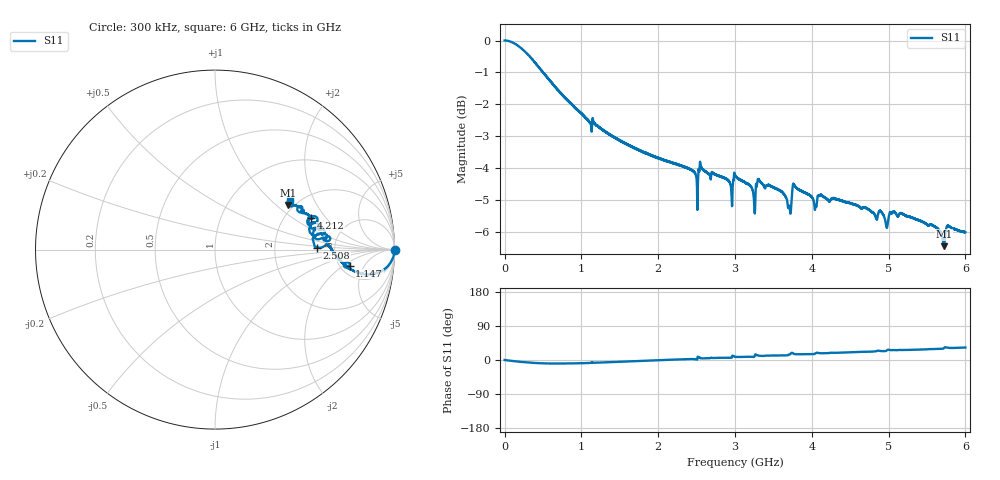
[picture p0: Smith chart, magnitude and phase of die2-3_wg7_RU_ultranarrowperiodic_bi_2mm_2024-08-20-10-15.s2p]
!Keysight Technologies,P9374A,MY57304198,A.17.20.09
!Date: Tuesday, August 20, 2024 10:15:34
!Correction: S11(C  1-Port  )
!S21(C  1-Port  )
!S12(Off)
!S22(Off)
!S2P File: Measurements: S11, S21, S12, S22:
# Hz S  dB  R 50
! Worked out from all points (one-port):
!   6000 points, 300 kHz to 6 GHz, reference 50 ohm
!   lowest |S11| = -6.4 dB at 5.72 GHz (marker M1), VSWR 2.82, Z = 93.8 + j59.9 ohm
!   |S11| at or under -10 dB: nowhere
!   S11 on the Smith chart (normalised r, x): 300 kHz: open; 1.147 GHz: 6.10, -2.54; 2.508 GHz: 3.64, +0.10; 4.212 GHz: 2.76, +1.41; 6 GHz: 1.83, +1.33
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300000  0.00 -0.0  -200.00 45.0  -200.00 45.0  -200.00 45.0
4.163485e8  -0.75 -8.0  -200.00 45.0  -200.00 45.0  -200.00 45.0
1.000417e9  -2.28 -8.4  -200.00 45.0  -200.00 45.0  -200.00 45.0
1.147434e9  -2.43 -6.8  -200.00 45.0  -200.00 45.0  -200.00 45.0
2.000533e9  -3.67 -0.6  -200.00 45.0  -200.00 45.0  -200.00 45.0
2.479589e9  -4.14 2.4  -200.00 45.0  -200.00 45.0  -200.00 45.0
2.507593e9  -4.89 0.9  -200.00 45.0  -200.00 45.0  -200.00 45.0
2.5686e9  -4.02 4.3  -200.00 45.0  -200.00 45.0  -200.00 45.0
2.929642e9  -4.44 6.2  -200.00 45.0  -200.00 45.0  -200.00 45.0
3.00065e9  -4.21 8.4  -200.00 45.0  -200.00 45.0  -200.00 45.0
3.224676e9  -4.66 8.3  -200.00 45.0  -200.00 45.0  -200.00 45.0
3.288684e9  -4.47 13.0  -200.00 45.0  -200.00 45.0  -200.00 45.0
3.663727e9  -4.92 12.3  -200.00 45.0  -200.00 45.0  -200.00 45.0
3.713733e9  -5.24 14.4  -200.00 45.0  -200.00 45.0  -200.00 45.0
3.754738e9  -4.51 17.6  -200.00 45.0  -200.00 45.0  -200.00 45.0
4.000767e9  -4.90 15.6  -200.00 45.0  -200.00 45.0  -200.00 45.0
4.211791e9  -5.00 18.1  -200.00 45.0  -200.00 45.0  -200.00 45.0
4.946877e9  -5.56 23.3  -200.00 45.0  -200.00 45.0  -200.00 45.0
5.000883e9  -5.52 27.0  -200.00 45.0  -200.00 45.0  -200.00 45.0
5.384928e9  -5.64 27.4  -200.00 45.0  -200.00 45.0  -200.00 45.0
5.719967e9  -6.44 31.2  -200.00 45.0  -200.00 45.0  -200.00 45.0
6e9  -6.01 32.9  -200.00 45.0  -200.00 45.0  -200.00 45.0
